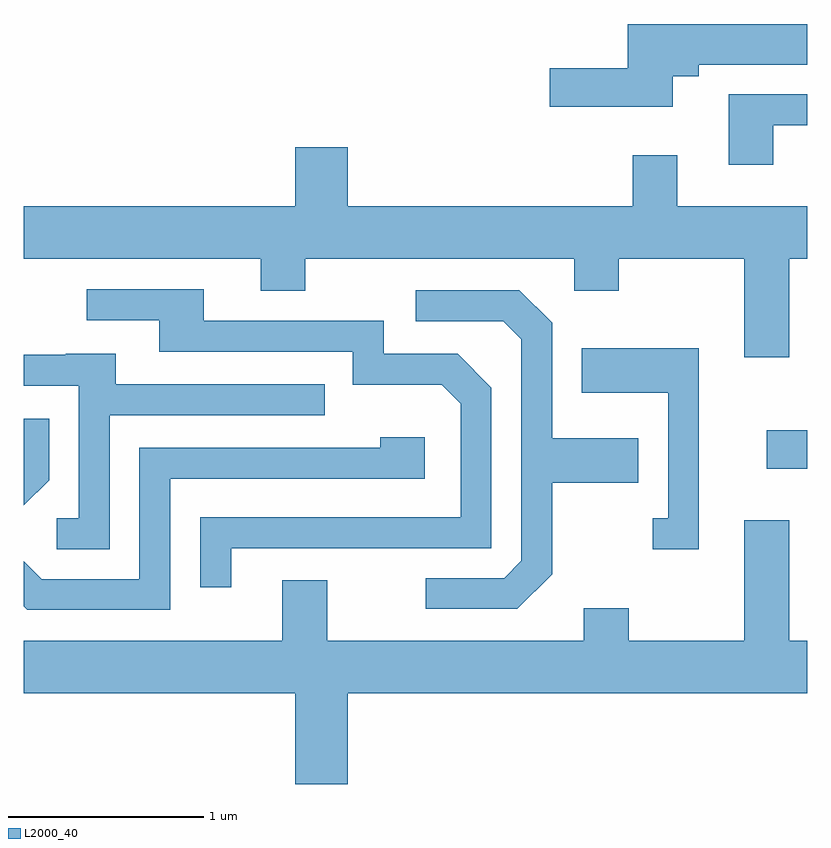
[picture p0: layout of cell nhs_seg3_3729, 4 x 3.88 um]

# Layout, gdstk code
import gdstk
lib = gdstk.Library(unit=1e-6, precision=1e-09)
def R(c, l, rs):  # rectangles x0, y0, x1, y1
    for r in rs: c.add(gdstk.rectangle(r[:2], r[2:], *l))
def P(c, l, *ps):  # polygons
    for p in ps: c.add(gdstk.Polygon(p, *l))
L2000_40 = (2000, 40)

nhs_seg3_3729 = lib.new_cell('nhs_seg3_3729')
R(nhs_seg3_3729, L2000_40, [(297.406,1231.501,297.611,1231.699)])
P(nhs_seg3_3729, L2000_40, [(296.924,1233.506),(297.059,1233.506),(297.059,1233.566),(297.611,1233.566),(297.611,1233.774),(296.696,1233.774),(296.696,1233.549),(296.296,1233.549),(296.296,1233.351),(296.924,1233.351)],
  [(297.439,1233.256),(297.611,1233.256),(297.611,1233.414),(297.211,1233.414),(297.211,1233.056),(297.439,1233.056)],
  [(297.519,1232.576),(297.611,1232.576),(297.611,1232.844),(296.949,1232.844),(296.949,1233.104),(296.721,1233.104),(296.721,1232.844),(295.264,1232.844),(295.264,1233.144),(294.996,1233.144),(294.996,1232.844),(293.611,1232.844),(293.611,1232.576),(294.821,1232.576),(294.821,1232.411),(295.049,1232.411),(295.049,1232.576),(296.421,1232.576),(296.421,1232.411),(296.649,1232.411),(296.649,1232.576),(297.291,1232.576),(297.291,1232.071),(297.519,1232.071)],
  [(294.669,1231.096),(295.999,1231.096),(295.999,1231.917),(295.827,1232.089),(295.449,1232.089),(295.449,1232.259),(294.529,1232.259),(294.529,1232.419),(293.933,1232.419),(293.933,1232.261),(294.301,1232.261),(294.301,1232.101),(295.291,1232.101),(295.291,1231.931),(295.744,1231.931),(295.841,1231.834),(295.841,1231.254),(294.511,1231.254),(294.511,1230.898),(294.669,1230.898)],
  [(296.309,1230.964),(296.309,1231.431),(296.749,1231.431),(296.749,1231.659),(296.309,1231.659),(296.309,1232.247),(296.142,1232.414),(295.613,1232.414),(295.613,1232.256),(296.059,1232.256),(296.151,1232.164),(296.151,1231.032),(296.064,1230.944),(295.663,1230.944),(295.663,1230.786),(296.132,1230.786)],
  [(297.059,1232.119),(296.461,1232.119),(296.461,1231.891),(296.901,1231.891),(296.901,1231.249),(296.823,1231.249),(296.823,1231.091),(297.059,1231.091)],
  [(294.049,1231.776),(295.148,1231.776),(295.148,1231.934),(294.079,1231.934),(294.079,1232.089),(293.825,1232.089),(293.825,1232.084),(293.611,1232.084),(293.611,1231.926),(293.891,1231.926),(293.891,1231.249),(293.778,1231.249),(293.778,1231.091),(294.049,1231.091)],
  [(293.739,1231.444),(293.739,1231.758),(293.611,1231.758),(293.611,1231.315)],
  [(294.359,1231.451),(295.659,1231.451),(295.659,1231.664),(295.431,1231.664),(295.431,1231.609),(294.201,1231.609),(294.201,1230.939),(293.702,1230.939),(293.611,1231.03),(293.611,1230.799),(293.629,1230.781),(294.359,1230.781)],
  [(295.264,1230.356),(297.611,1230.356),(297.611,1230.624),(297.519,1230.624),(297.519,1231.239),(297.291,1231.239),(297.291,1230.624),(296.699,1230.624),(296.699,1230.789),(296.471,1230.789),(296.471,1230.624),(295.159,1230.624),(295.159,1230.934),(294.931,1230.934),(294.931,1230.624),(293.611,1230.624),(293.611,1230.356),(294.996,1230.356),(294.996,1229.892),(295.264,1229.892)])

lib.write_gds('nhs_seg3_3729.gds')
